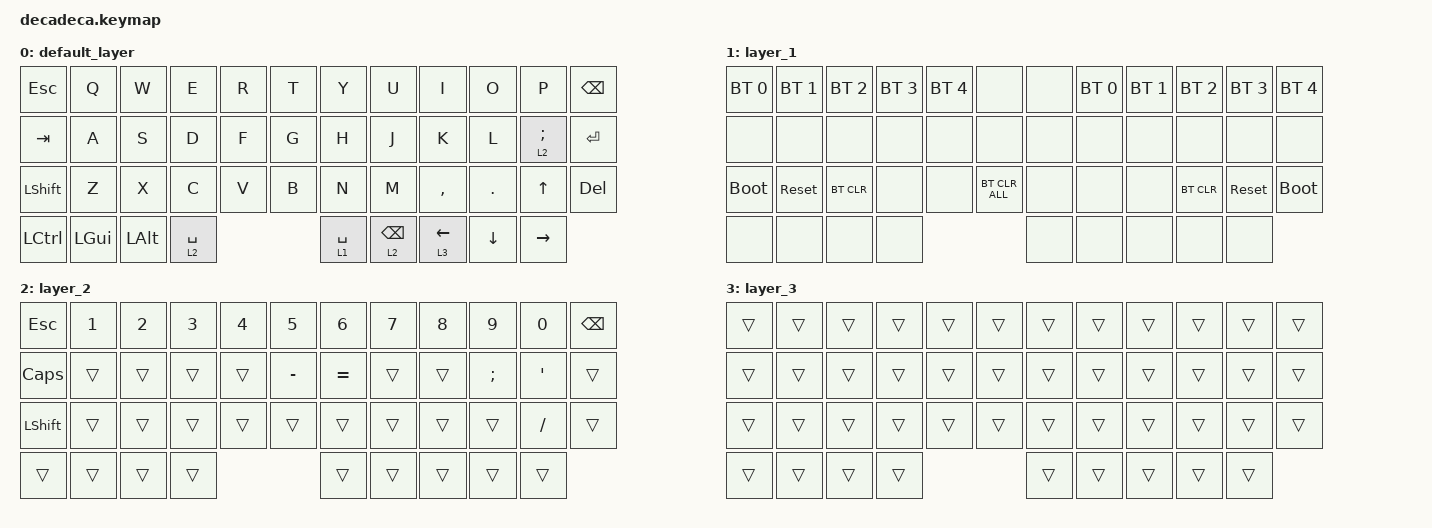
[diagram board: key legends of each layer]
#include <dt-bindings/zmk/mouse.h>
#include <behaviors.dtsi>
#include <dt-bindings/zmk/bt.h>
#include <dt-bindings/zmk/keys.h>

/ {
    combos {
        compatible = "zmk,combos";

        esc {
            bindings = <&kp ESCAPE>;
            key-positions = <0 1>;
        };

        desktop {
            bindings = <&kp LC(D)>;
            key-positions = <14 15>;
        };

        wine {
            bindings = <&kp LG(E)>;
            key-positions = <15 16>;
        };

        altf4 {
            bindings = <&kp LA(F4)>;
            key-positions = <17 16>;
        };
    };

    keymap {
        compatible = "zmk,keymap";

        default_layer {
            bindings = <
&kp ESC    &kp Q     &kp W     &kp E        &kp R  &kp T  &kp Y        &kp U            &kp I       &kp O     &kp P            &kp BACKSPACE
&kp TAB    &kp A     &kp S     &kp D        &kp F  &kp G  &kp H        &kp J            &kp K       &kp L     &lt 2 SEMICOLON  &kp ENTER
&kp LSHFT  &kp Z     &kp X     &kp C        &kp V  &kp B  &kp N        &kp M            &kp COMMA   &kp DOT   &kp UP_ARROW     &kp DEL
&kp LCTRL  &kp LGUI  &kp LALT  &lt 2 SPACE                &lt 1 SPACE  &lt 2 BACKSPACE  &lt 3 LEFT  &kp DOWN  &kp RIGHT
            >;
        };

        layer_1 {
            bindings = <
&bt BT_SEL 0  &bt BT_SEL 1  &bt BT_SEL 2  &bt BT_SEL 3  &bt BT_SEL 4  &none           &none  &bt BT_SEL 0  &bt BT_SEL 1  &bt BT_SEL 2  &bt BT_SEL 3  &bt BT_SEL 4
&none         &none         &none         &none         &none         &none           &none  &none         &none         &none         &none         &none
&bootloader   &sys_reset    &bt BT_CLR    &none         &none         &bt BT_CLR_ALL  &none  &none         &none         &bt BT_CLR    &sys_reset    &bootloader
&none         &none         &none         &none                                       &none  &none         &none         &none         &none
            >;
        };

        layer_2 {
            bindings = <
&kp ESC    &kp N1  &kp N2  &kp N3  &kp N4  &kp N5     &kp N6     &kp N7  &kp N8  &kp N9    &kp N0    &kp BSPC
&kp CAPS   &trans  &trans  &trans  &trans  &kp MINUS  &kp EQUAL  &trans  &trans  &kp SEMI  &kp APOS  &trans
&kp LSHFT  &trans  &trans  &trans  &trans  &trans     &trans     &trans  &trans  &trans    &kp FSLH  &trans
&trans     &trans  &trans  &trans                     &trans     &trans  &trans  &trans    &trans
            >;
        };

        layer_3 {
            bindings = <
&trans  &trans  &trans  &trans  &trans  &trans  &trans  &trans  &trans  &trans  &trans  &trans
&trans  &trans  &trans  &trans  &trans  &trans  &trans  &trans  &trans  &trans  &trans  &trans
&trans  &trans  &trans  &trans  &trans  &trans  &trans  &trans  &trans  &trans  &trans  &trans
&trans  &trans  &trans  &trans                  &trans  &trans  &trans  &trans  &trans
            >;
        };
    };
};
